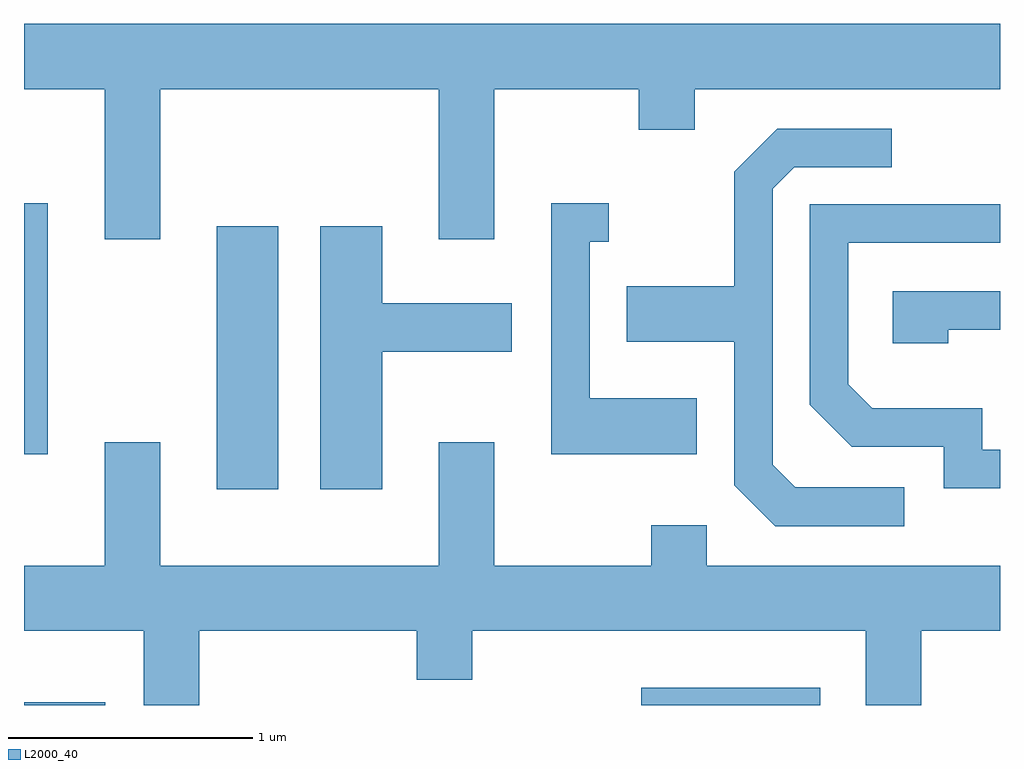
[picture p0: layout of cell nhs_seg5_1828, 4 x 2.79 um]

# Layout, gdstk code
import gdstk
lib = gdstk.Library(unit=1e-6, precision=1e-09)
def R(c, l, rs):  # rectangles x0, y0, x1, y1
    for r in rs: c.add(gdstk.rectangle(r[:2], r[2:], *l))
def P(c, l, *ps):  # polygons
    for p in ps: c.add(gdstk.Polygon(p, *l))
L2000_40 = (2000, 40)

nhs_seg5_1828 = lib.new_cell('nhs_seg5_1828')
R(nhs_seg5_1828, L2000_40, [(239.611,1432.072,239.944,1432.084), (242.141,1432.072,242.874,1432.144), (240.401,1432.956,240.654,1434.034), (239.611,1433.101,239.709,1434.129)])
P(nhs_seg5_1828, L2000_40, [(240.169,1434.596),(241.311,1434.596),(241.311,1433.981),(241.539,1433.981),(241.539,1434.596),(242.131,1434.596),(242.131,1434.431),(242.359,1434.431),(242.359,1434.596),(243.611,1434.596),(243.611,1434.864),(239.611,1434.864),(239.611,1434.596),(239.941,1434.596),(239.941,1433.981),(240.169,1433.981)],
  [(243.218,1432.964),(242.772,1432.964),(242.679,1433.057),(242.679,1434.189),(242.767,1434.276),(243.168,1434.276),(243.168,1434.434),(242.699,1434.434),(242.521,1434.257),(242.521,1433.789),(242.081,1433.789),(242.081,1433.561),(242.521,1433.561),(242.521,1432.974),(242.689,1432.806),(243.218,1432.806)],
  [(242.369,1433.329),(241.929,1433.329),(241.929,1433.971),(242.008,1433.971),(242.008,1434.129),(241.771,1434.129),(241.771,1433.101),(242.369,1433.101)],
  [(243.611,1433.119),(243.539,1433.119),(243.539,1433.289),(243.087,1433.289),(242.989,1433.387),(242.989,1433.966),(243.611,1433.966),(243.611,1434.124),(242.831,1434.124),(242.831,1433.304),(243.004,1433.131),(243.381,1433.131),(243.381,1432.961),(243.611,1432.961)],
  [(241.079,1433.521),(241.609,1433.521),(241.609,1433.719),(241.079,1433.719),(241.079,1434.034),(240.826,1434.034),(240.826,1432.956),(241.079,1432.956)],
  [(243.399,1433.611),(243.611,1433.611),(243.611,1433.769),(243.171,1433.769),(243.171,1433.556),(243.399,1433.556)],
  [(240.329,1432.376),(241.221,1432.376),(241.221,1432.176),(241.449,1432.176),(241.449,1432.376),(243.061,1432.376),(243.061,1432.072),(243.289,1432.072),(243.289,1432.376),(243.611,1432.376),(243.611,1432.644),(242.409,1432.644),(242.409,1432.809),(242.181,1432.809),(242.181,1432.644),(241.539,1432.644),(241.539,1433.149),(241.311,1433.149),(241.311,1432.644),(240.169,1432.644),(240.169,1433.149),(239.941,1433.149),(239.941,1432.644),(239.611,1432.644),(239.611,1432.376),(240.101,1432.376),(240.101,1432.072),(240.329,1432.072)])

lib.write_gds('nhs_seg5_1828.gds')
